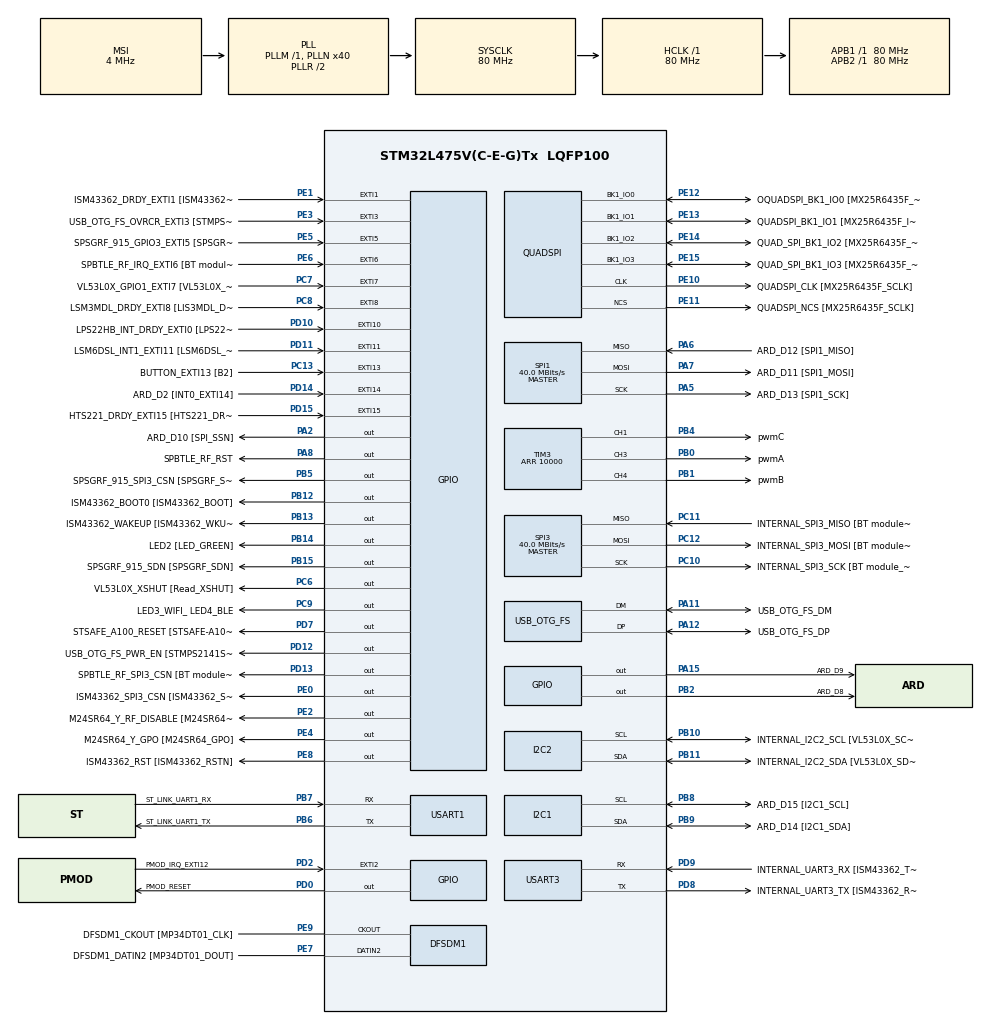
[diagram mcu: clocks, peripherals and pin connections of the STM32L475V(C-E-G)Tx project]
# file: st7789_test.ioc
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Dma.Request0=SPI1_TX
Dma.Request1=USART1_TX
Dma.SPI1_TX.0.Direction=DMA_MEMORY_TO_PERIPH
Dma.SPI1_TX.0.Instance=DMA1_Channel3
Dma.SPI1_TX.0.MemDataAlignment=DMA_MDATAALIGN_BYTE
Dma.SPI1_TX.0.MemInc=DMA_MINC_ENABLE
Dma.SPI1_TX.0.Mode=DMA_NORMAL
Dma.SPI1_TX.0.PeriphDataAlignment=DMA_PDATAALIGN_BYTE
Dma.SPI1_TX.0.PeriphInc=DMA_PINC_DISABLE
Dma.SPI1_TX.0.Priority=DMA_PRIORITY_LOW
Dma.USART1_TX.1.Direction=DMA_MEMORY_TO_PERIPH
Dma.USART1_TX.1.Instance=DMA1_Channel4
Dma.USART1_TX.1.MemDataAlignment=DMA_MDATAALIGN_BYTE
Dma.USART1_TX.1.MemInc=DMA_MINC_ENABLE
Dma.USART1_TX.1.Mode=DMA_NORMAL
Dma.USART1_TX.1.PeriphDataAlignment=DMA_PDATAALIGN_BYTE
Dma.USART1_TX.1.PeriphInc=DMA_PINC_DISABLE
Dma.USART1_TX.1.Priority=DMA_PRIORITY_LOW
I2C1.Timing=0x10909CEC
Mcu.Family=STM32L4
Mcu.Name=STM32L475V(C-E-G)Tx
Mcu.Package=LQFP100
NVIC.DMA1_Channel3_IRQn=true\:0\:0\:false\:false\:true\:false\:true\:true
NVIC.DMA1_Channel4_IRQn=true\:0\:0\:false\:false\:true\:false\:true\:true
NVIC.EXTI15_10_IRQn=true\:0\:0\:false\:false\:true\:true\:true\:true
NVIC.EXTI9_5_IRQn=true\:0\:0\:false\:false\:true\:true\:true\:true
NVIC.OTG_FS_IRQn=true\:0\:0\:false\:false\:true\:false\:true\:true
NVIC.PriorityGroup=NVIC_PRIORITYGROUP_4
NVIC.TIM6_DAC_IRQn=true\:0\:0\:false\:false\:true\:true\:true\:true
PA0.GPIO_Label=ARD_D1 [UART4_TX]
PA0.Signal=UART4_TX
PA1.GPIO_Label=ARD_D0 [UART4_RX]
PA1.Signal=UART4_RX
PA10.GPIO_Label=USB_OTG_FS_ID
PA10.Signal=USB_OTG_FS_ID
PA11.GPIO_Label=USB_OTG_FS_DM
PA11.Mode=Device_Only
PA11.Signal=USB_OTG_FS_DM
PA12.GPIO_Label=USB_OTG_FS_DP
PA12.Mode=Device_Only
PA12.Signal=USB_OTG_FS_DP
PA13\ (JTMS-SWDIO).GPIO_Label=SYS_JTMS_SWDIO
PA13\ (JTMS-SWDIO).Mode=Serial_Wire
PA13\ (JTMS-SWDIO).Signal=SYS_JTMS-SWDIO
PA14\ (JTCK-SWCLK).GPIO_Label=SYS_JTCK_SWCLK
PA14\ (JTCK-SWCLK).Mode=Serial_Wire
PA14\ (JTCK-SWCLK).Signal=SYS_JTCK-SWCLK
PA15\ (JTDI).GPIO_Label=ARD_D9
PA15\ (JTDI).Signal=GPIO_Output
PA2.GPIO_Label=ARD_D10 [SPI_SSN]
PA2.Signal=GPIO_Output
PA3.GPIO_Label=ARD_D4
PA3.Signal=S_TIM2_CH4
PA4.GPIO_Label=ARD_D7
PA4.Signal=ADCx_IN9
PA5.GPIO_Label=ARD_D13 [SPI1_SCK]
PA5.Mode=Full_Duplex_Master
PA5.Signal=SPI1_SCK
PA6.GPIO_Label=ARD_D12 [SPI1_MISO]
PA6.Mode=Full_Duplex_Master
PA6.Signal=SPI1_MISO
PA7.GPIO_Label=ARD_D11 [SPI1_MOSI]
PA7.Mode=Full_Duplex_Master
PA7.Signal=SPI1_MOSI
PA8.GPIO_Label=SPBTLE_RF_RST
PA8.Signal=GPIO_Output
PA9.GPIO_Label=USB_OTG_FS_VBUS [STMPS2141STR_OUT]
PA9.Signal=USB_OTG_FS_VBUS
PB0.GPIO_Label=pwmA
PB0.Signal=S_TIM3_CH3
PB1.GPIO_Label=pwmB
PB1.Signal=S_TIM3_CH4
PB10.GPIO_Label=INTERNAL_I2C2_SCL [VL53L0X_SCL]
PB10.GPIO_Pu=GPIO_PULLUP
PB10.Mode=I2C
PB10.Signal=I2C2_SCL
PB11.GPIO_Label=INTERNAL_I2C2_SDA [VL53L0X_SDA]
PB11.GPIO_Pu=GPIO_PULLUP
PB11.Mode=I2C
PB11.Signal=I2C2_SDA
PB12.GPIO_Label=ISM43362_BOOT0 [ISM43362_BOOT]
PB12.Signal=GPIO_Output
PB13.GPIO_Label=ISM43362_WAKEUP [ISM43362_WKUP]
PB13.Signal=GPIO_Output
PB14.GPIO_Label=LED2 [LED_GREEN]
PB14.Signal=GPIO_Output
PB15.GPIO_Label=SPSGRF_915_SDN [SPSGRF_SDN]
PB15.Signal=GPIO_Output
PB2.GPIO_Label=ARD_D8
PB2.Signal=GPIO_Output
PB3\ (JTDO-TRACESWO).GPIO_Label=SYS_JTD0_SWO
PB3\ (JTDO-TRACESWO).Signal=SYS_JTDO-SWO
PB4\ (NJTRST).GPIO_Label=pwmC
PB4\ (NJTRST).Signal=S_TIM3_CH1
PB5.GPIO_Label=SPSGRF_915_SPI3_CSN [SPSGRF_SPI_CS]
PB5.PinState=GPIO_PIN_SET
PB5.Signal=GPIO_Output
PB6.GPIO_Label=ST_LINK_UART1_TX
PB6.Mode=Asynchronous
PB6.Signal=USART1_TX
PB7.GPIO_Label=ST_LINK_UART1_RX
PB7.Mode=Asynchronous
PB7.Signal=USART1_RX
PB8.GPIO_Label=ARD_D15 [I2C1_SCL]
PB8.Mode=I2C
PB8.Signal=I2C1_SCL
PB9.GPIO_Label=ARD_D14 [I2C1_SDA]
PB9.Mode=I2C
PB9.Signal=I2C1_SDA
PC0.GPIO_Label=ARD_A5 [ADC]
PC0.Signal=ADCx_IN1
PC1.GPIO_Label=ARD_A4 [ADC]
PC1.Signal=ADCx_IN2
PC10.GPIO_Label=INTERNAL_SPI3_SCK [BT module_SPI_SCLK] [ISM43362_SCK]
PC10.Mode=Full_Duplex_Master
PC10.Signal=SPI3_SCK
PC11.GPIO_Label=INTERNAL_SPI3_MISO [BT module_SPI_MISO] [ISM43362_MISO]
PC11.Mode=Full_Duplex_Master
PC11.Signal=SPI3_MISO
PC12.GPIO_Label=INTERNAL_SPI3_MOSI [BT module_SPI_MOSI] [ISM43362_MOSI]
PC12.Mode=Full_Duplex_Master
PC12.Signal=SPI3_MOSI
PC13.GPIO_Label=BUTTON_EXTI13 [B2]
PC13.GPIO_ModeDefaultEXTI=GPIO_MODE_IT_FALLING
PC13.Signal=GPXTI13
PC14-OSC32_IN\ (PC14).Mode=LSE-External-Oscillator
PC14-OSC32_IN\ (PC14).Signal=RCC_OSC32_IN
PC15-OSC32_OUT\ (PC15).Mode=LSE-External-Oscillator
PC15-OSC32_OUT\ (PC15).Signal=RCC_OSC32_OUT
PC2.GPIO_Label=ARD_A3 [ADC]
PC2.Signal=ADCx_IN3
PC3.GPIO_Label=ARD_A2 [ADC]
PC3.Signal=ADCx_IN4
PC4.GPIO_Label=ARD_A1 [ADC]
PC4.Signal=ADCx_IN13
PC5.GPIO_Label=ARD_A0 [ADC]
PC5.Signal=ADCx_IN14
PC6.GPIO_Label=VL53L0X_XSHUT [Read_XSHUT]
PC6.Signal=GPIO_Output
PC7.GPIO_Label=VL53L0X_GPIO1_EXTI7 [VL53L0X_GPIO1]
PC7.Signal=GPXTI7
PC8.GPIO_Label=LSM3MDL_DRDY_EXTI8 [LIS3MDL_DRDY]
PC8.Signal=GPXTI8
PC9.GPIO_Label=LED3_WIFI_ LED4_BLE
PC9.Signal=GPIO_Output
PD0.GPIO_Label=PMOD_RESET
PD0.Signal=GPIO_Output
PD1.GPIO_Label=PMOD_SPI2_SCK
PD1.Signal=SPI2_SCK
PD10.GPIO_Label=LPS22HB_INT_DRDY_EXTI0 [LPS22HB_INT_DRDY] 
PD10.Signal=GPXTI10
PD11.GPIO_Label=LSM6DSL_INT1_EXTI11 [LSM6DSL_INT1]
PD11.Signal=GPXTI11
PD12.GPIO_Label=USB_OTG_FS_PWR_EN [STMPS2141STR_EN]
PD12.Signal=GPIO_Output
PD13.GPIO_Label=SPBTLE_RF_SPI3_CSN [BT module_SPI_CS]
PD13.PinState=GPIO_PIN_SET
PD13.Signal=GPIO_Output
PD14.GPIO_Label=ARD_D2 [INT0_EXTI14]
PD14.Signal=GPXTI14
PD15.GPIO_Label=HTS221_DRDY_EXTI15 [HTS221_DRDY]
PD15.Signal=GPXTI15
PD2.GPIO_Label=PMOD_IRQ_EXTI12
PD2.Signal=GPXTI2
PD3.GPIO_Label=PMOD_UART2_CTS
PD3.Signal=USART2_CTS
PD4.GPIO_Label=PMOD_UART2_RTS
PD4.Signal=USART2_RTS
PD5.GPIO_Label=PMOD_UART2_TX
PD5.Signal=USART2_TX
PD6.GPIO_Label=PMOD_UART2_RX
PD6.Signal=USART2_RX
PD7.GPIO_Label=STSAFE_A100_RESET [STSAFE-A100_RESET]
PD7.Signal=GPIO_Output
PD8.GPIO_Label=INTERNAL_UART3_TX [ISM43362_RX]
PD8.Mode=Asynchronous
PD8.Signal=USART3_TX
PD9.GPIO_Label=INTERNAL_UART3_RX [ISM43362_TX]
PD9.Mode=Asynchronous
PD9.Signal=USART3_RX
PE0.GPIO_Label=ISM43362_SPI3_CSN [ISM43362_SSN]
PE0.PinState=GPIO_PIN_SET
PE0.Signal=GPIO_Output
PE1.GPIO_Label=ISM43362_DRDY_EXTI1 [ISM43362_DATARDY]
PE1.Signal=GPXTI1
PE10.GPIO_Label=QUADSPI_CLK [MX25R6435F_SCLK]
PE10.Mode=Single Bank
PE10.Signal=QUADSPI_CLK
PE11.GPIO_Label=QUADSPI_NCS [MX25R6435F_SCLK]
PE11.Mode=Single Bank
PE11.Signal=QUADSPI_NCS
PE12.GPIO_Label=OQUADSPI_BK1_IO0 [MX25R6435F_IO0]
PE12.Mode=Single Bank
PE12.Signal=QUADSPI_BK1_IO0
PE13.GPIO_Label=QUADSPI_BK1_IO1 [MX25R6435F_IO1]
PE13.Mode=Single Bank
PE13.Signal=QUADSPI_BK1_IO1
PE14.GPIO_Label=QUAD_SPI_BK1_IO2 [MX25R6435F_IO2]
PE14.Mode=Single Bank
PE14.Signal=QUADSPI_BK1_IO2
PE15.GPIO_Label=QUAD_SPI_BK1_IO3 [MX25R6435F_IO3]
PE15.Mode=Single Bank
PE15.Signal=QUADSPI_BK1_IO3
PE2.GPIO_Label=M24SR64_Y_RF_DISABLE [M24SR64_RFDIS]
PE2.Signal=GPIO_Output
PE3.GPIO_Label=USB_OTG_FS_OVRCR_EXTI3 [STMPS2141STR_FAULT]
PE3.Signal=GPXTI3
PE4.GPIO_Label=M24SR64_Y_GPO [M24SR64_GPO]
PE4.Signal=GPIO_Output
PE5.GPIO_Label=SPSGRF_915_GPIO3_EXTI5 [SPSGRF_GPIO_3]
PE5.Signal=GPXTI5
PE6.GPIO_Label=SPBTLE_RF_IRQ_EXTI6 [BT module_SPI_IRQ]
PE6.Signal=GPXTI6
PE7.GPIO_Label=DFSDM1_DATIN2 [MP34DT01_DOUT]
PE7.Signal=S_DATAIN2DFSDM1
PE8.GPIO_Label=ISM43362_RST [ISM43362_RSTN]
PE8.Signal=GPIO_Output
PE9.GPIO_Label=DFSDM1_CKOUT [MP34DT01_CLK]
PE9.Signal=S_CKOUTDFSDM1
ProjectManager.HeapSize=0x200
ProjectManager.StackSize=0x400
ProjectManager.TargetToolchain=CMake
QUADSPI.ClockPrescaler=2
QUADSPI.FifoThreshold=4
QUADSPI.FlashSize=23
QUADSPI.SampleShifting=QSPI_SAMPLE_SHIFTING_HALFCYCLE
RCC.ADCFreq_Value=48000000
RCC.AHBFreq_Value=80000000
RCC.APB1Freq_Value=80000000
RCC.APB1TimFreq_Value=80000000
RCC.APB2Freq_Value=80000000
RCC.APB2TimFreq_Value=80000000
RCC.CortexFreq_Value=80000000
RCC.HCLKFreq_Value=80000000
RCC.HSE_VALUE=8000000
RCC.HSI_VALUE=16000000
RCC.MSI_VALUE=4000000
RCC.PLLN=40
RCC.PLLSAI1N=24
RCC.SYSCLKFreq_VALUE=80000000
RCC.SYSCLKSource=RCC_SYSCLKSOURCE_PLLCLK
RCC.USBFreq_Value=48000000
RCC.VCOOutputFreq_Value=160000000
SH.ADCx_IN1.0=ADC1_IN1
SH.ADCx_IN13.0=ADC1_IN13
SH.ADCx_IN14.0=ADC1_IN14
SH.ADCx_IN2.0=ADC1_IN2
SH.ADCx_IN3.0=ADC1_IN3
SH.ADCx_IN4.0=ADC1_IN4
SH.ADCx_IN9.0=ADC1_IN9
SH.S_CKOUTDFSDM1.0=DFSDM1_CKOUT,CKOUT
SH.S_CKOUTDFSDM1.1=DFSDM1_CKOUT,PDM_SPI_Input_from_ch12_and_Internal_Clock
SH.S_DATAIN2DFSDM1.0=DFSDM1_DATIN2,PDM_SPI_Input_from_ch12_and_Internal_Clock
SH.S_TIM2_CH4.0=TIM2_CH4
SH.S_TIM3_CH1.0=TIM3_CH1,PWM Generation1 CH1
SH.S_TIM3_CH3.0=TIM3_CH3,PWM Generation3 CH3
SH.S_TIM3_CH4.0=TIM3_CH4,PWM Generation4 CH4
SPI1.CLKPolarity=SPI_POLARITY_HIGH
SPI1.CalculateBaudRate=40.0 MBits/s
SPI1.DataSize=SPI_DATASIZE_8BIT
SPI1.Direction=SPI_DIRECTION_2LINES
SPI1.Mode=SPI_MODE_MASTER
SPI1.VirtualType=VM_MASTER
SPI3.CalculateBaudRate=40.0 MBits/s
SPI3.Direction=SPI_DIRECTION_2LINES
SPI3.Mode=SPI_MODE_MASTER
SPI3.VirtualType=VM_MASTER
TIM3.Channel-PWM\ Generation1\ CH1=TIM_CHANNEL_1
TIM3.Channel-PWM\ Generation3\ CH3=TIM_CHANNEL_3
TIM3.Channel-PWM\ Generation4\ CH4=TIM_CHANNEL_4
TIM3.Period=10000
USART1.VirtualMode-Asynchronous=VM_ASYNC
USART3.VirtualMode-Asynchronous=VM_ASYNC
USB_DEVICE.CLASS_NAME_FS=CUSTOM_HID
USB_DEVICE.VirtualMode=CustomHid
USB_DEVICE.VirtualModeFS=Custom_Hid_FS
USB_OTG_FS.VirtualMode=Device_Only
VP_TIM3_VS_ClockSourceINT.Mode=Internal
VP_TIM6_VS_ClockSourceINT.Mode=Enable_Timer
VP_USB_DEVICE_VS_USB_DEVICE_CUSTOM_HID_FS.Mode=CUSTOM_HID_FS
board=B-L475E-IOT01A1

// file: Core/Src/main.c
/* USER CODE BEGIN Header */
/**
 ******************************************************************************
 * @file           : main.c
 * @brief          : Main program body
 ******************************************************************************
 * @attention
 *
 * Copyright (c) 2024 STMicroelectronics.
 * All rights reserved.
 *
 * This software is licensed under terms that can be found in the LICENSE file
 * in the root directory of this software component.
 * If no LICENSE file comes with this software, it is provided AS-IS.
 *
 ******************************************************************************
 */
/* USER CODE END Header */
#include "main.h"
#include "dfsdm.h"
#include "dma.h"
#include "i2c.h"
#include "quadspi.h"
#include "spi.h"
#include "tim.h"
#include "usart.h"
#include "usb_device.h"
#include "gpio.h"

/* USER CODE BEGIN Includes */
#include <stdio.h>
#include <math.h>
#include "AS5600.h"
#include "foc.h"
#include "usbd_customhid.h"
#include "keyboard.h"
#include "st7789.h"
#include "enable.h"
/* USER CODE END Includes */

/* USER CODE BEGIN PV */
extern uint8_t ANGLE_SERVICE_HANDLE[2];
extern uint8_t NAME_ANGLE_HANDLE[2];
extern uint8_t NAME_ANGLE_VALUE[];
extern uint8_t ENCODER_CHAR_HANDLE[2];
extern uint8_t ENCODER_VALUE[];

char msg[100];
float angle;

float Kp = 8;
float Ki = 0;
float Kd = 0;
float target_angle = 0;
float Sensor_Angle;

const int Partition_Rev = 8;
const int Angle_Range = 2 * _PI;
int16_t Partition_Inx = 0;

extern USBD_HandleTypeDef hUsbDeviceFS;

// for BLE
int dataAvailable = 0;
int update = 0;
/* USER CODE END PV */

void SystemClock_Config(void);
/* USER CODE BEGIN PFP */
void BLE_Task(void);
/* USER CODE END PFP */

int main(void)
{

  /* MCU Configuration--------------------------------------------------------*/

  /* Reset of all peripherals, Initializes the Flash interface and the Systick. */
  HAL_Init();

  /* Configure the system clock */
  SystemClock_Config();

  /* Initialize all configured peripherals */
  MX_GPIO_Init();
  MX_DMA_Init();
  MX_DFSDM1_Init();
  MX_I2C2_Init();
  MX_QUADSPI_Init();
  MX_SPI1_Init();
  MX_SPI3_Init();
  MX_USART1_UART_Init();
  MX_USART3_UART_Init();
  MX_I2C1_Init();
  MX_TIM3_Init();
  MX_TIM6_Init();
  MX_USB_DEVICE_Init();
  /* USER CODE BEGIN 2 */
  // RESET BLE MODULE
  HAL_GPIO_WritePin(BLE_RESET_GPIO_Port, BLE_RESET_Pin, GPIO_PIN_RESET);
  HAL_Delay(10);
  HAL_GPIO_WritePin(BLE_RESET_GPIO_Port, BLE_RESET_Pin, GPIO_PIN_SET);

  ble_init();
  /*st7789*/
  ST7789_Init();
  // ST7789_Test();
  ST7789_Fill_Color(BLACK);

  bsp_as5600Init();
  HAL_TIM_PWM_Start(&htim3, TIM_CHANNEL_1);
  HAL_TIM_PWM_Start(&htim3, TIM_CHANNEL_3);
  HAL_TIM_PWM_Start(&htim3, TIM_CHANNEL_4);
  AlignSensor();
  HAL_TIM_Base_Start_IT(&htim6);

  float angleArray[Partition_Rev];
  for (int i = 0; i < Partition_Rev; i++)
  {
    angleArray[i] = Angle_Range * i / (Partition_Rev - 1);
  }

  float ThresholdArray[Partition_Rev - 1];
  for (int i = 0; i < Partition_Rev - 1; i++)
  {
    ThresholdArray[i] = (angleArray[i] + angleArray[i + 1]) / 2;
  }
  sprintf(msg, "Vol: %2d", Partition_Inx);
  ST7789_WriteString(10, 100, msg, Font_16x26, WHITE, BLACK);
  target_angle = angleArray[Partition_Inx];
  /* USER CODE END 2 */

  /* Infinite loop */
  /* USER CODE BEGIN WHILE */
  while (1)
  {
    angle = bsp_as5600GetWrappedAngle();
    ClosedLoopPosition(Kp, Ki, Kd, target_angle);
    if (angle > ThresholdArray[Partition_Inx] && Partition_Inx < Partition_Rev - 1)
    {

      Partition_Inx++;
      VOL_FLAG = 1;
      target_angle = angleArray[Partition_Inx];
    }
    else if (angle < ThresholdArray[Partition_Inx - 1] && Partition_Inx > 0)
    {

      Partition_Inx--;
      VOL_FLAG = -1;
      target_angle = angleArray[Partition_Inx];
    }
    if (VOL_FLAG != 0)
    {
      sprintf(msg, "Vol: %2d", Partition_Inx);
      ST7789_WriteString(10, 100, msg, Font_16x26, WHITE, BLACK);
    }
    volume_control(VOL_FLAG);
    BLE_Task();
    VOL_FLAG = 0;

    /* USER CODE END WHILE */

  }
}

void SystemClock_Config(void)
{
  RCC_OscInitTypeDef RCC_OscInitStruct = {0};
  RCC_ClkInitTypeDef RCC_ClkInitStruct = {0};

  /** Configure the main internal regulator output voltage
   */
  if (HAL_PWREx_ControlVoltageScaling(PWR_REGULATOR_VOLTAGE_SCALE1) != HAL_OK)
  {
    Error_Handler();
  }

  /** Configure LSE Drive Capability
   */
  HAL_PWR_EnableBkUpAccess();
  __HAL_RCC_LSEDRIVE_CONFIG(RCC_LSEDRIVE_LOW);

  /** Initializes the RCC Oscillators according to the specified parameters
   * in the RCC_OscInitTypeDef structure.
   */
  RCC_OscInitStruct.OscillatorType = RCC_OSCILLATORTYPE_LSE | RCC_OSCILLATORTYPE_MSI;
  RCC_OscInitStruct.LSEState = RCC_LSE_ON;
  RCC_OscInitStruct.MSIState = RCC_MSI_ON;
  RCC_OscInitStruct.MSICalibrationValue = 0;
  RCC_OscInitStruct.MSIClockRange = RCC_MSIRANGE_6;
  RCC_OscInitStruct.PLL.PLLState = RCC_PLL_ON;
  RCC_OscInitStruct.PLL.PLLSource = RCC_PLLSOURCE_MSI;
  RCC_OscInitStruct.PLL.PLLM = 1;
  RCC_OscInitStruct.PLL.PLLN = 40;
  RCC_OscInitStruct.PLL.PLLP = RCC_PLLP_DIV7;
  RCC_OscInitStruct.PLL.PLLQ = RCC_PLLQ_DIV2;
  RCC_OscInitStruct.PLL.PLLR = RCC_PLLR_DIV2;
  if (HAL_RCC_OscConfig(&RCC_OscInitStruct) != HAL_OK)
  {
    Error_Handler();
  }

  /** Initializes the CPU, AHB and APB buses clocks
   */
  RCC_ClkInitStruct.ClockType = RCC_CLOCKTYPE_HCLK | RCC_CLOCKTYPE_SYSCLK | RCC_CLOCKTYPE_PCLK1 | RCC_CLOCKTYPE_PCLK2;
  RCC_ClkInitStruct.SYSCLKSource = RCC_SYSCLKSOURCE_PLLCLK;
  RCC_ClkInitStruct.AHBCLKDivider = RCC_SYSCLK_DIV1;
  RCC_ClkInitStruct.APB1CLKDivider = RCC_HCLK_DIV1;
  RCC_ClkInitStruct.APB2CLKDivider = RCC_HCLK_DIV1;

  if (HAL_RCC_ClockConfig(&RCC_ClkInitStruct, FLASH_LATENCY_4) != HAL_OK)
  {
    Error_Handler();
  }

  /** Enable MSI Auto calibration
   */
  HAL_RCCEx_EnableMSIPLLMode();
}

/* USER CODE BEGIN 4 */
void BLE_Task(void)
{
  if (HAL_GPIO_ReadPin(BLE_INT_GPIO_Port, BLE_INT_Pin))
  { // if an event occurs let's catch it
    catchBLE();
  }
  updateSignedMillesimal(ANGLE_SERVICE_HANDLE, ENCODER_CHAR_HANDLE, ENCODER_VALUE, 10, Partition_Inx * 10);
}
void HAL_TIM_PeriodElapsedCallback(TIM_HandleTypeDef *htim)
{
  // Check which version of the timer triggered this callback and toggle LED
  if (htim == &htim6)
  {
    // ClosedLoopPosition(Kp, Ki, Kd, target_angle);

    __NOP();
  }
}
void HAL_GPIO_EXTI_Callback(uint16_t GPIO_Pin)
{
  if (GPIO_Pin == GPIO_PIN_13)
  {
    HAL_GPIO_TogglePin(LED2_GPIO_Port, LED2_Pin);
  }
  else
  {
    __NOP();
  }
}
/* USER CODE END 4 */

void Error_Handler(void)
{
  __disable_irq();
  while (1)
  {
  }
}
